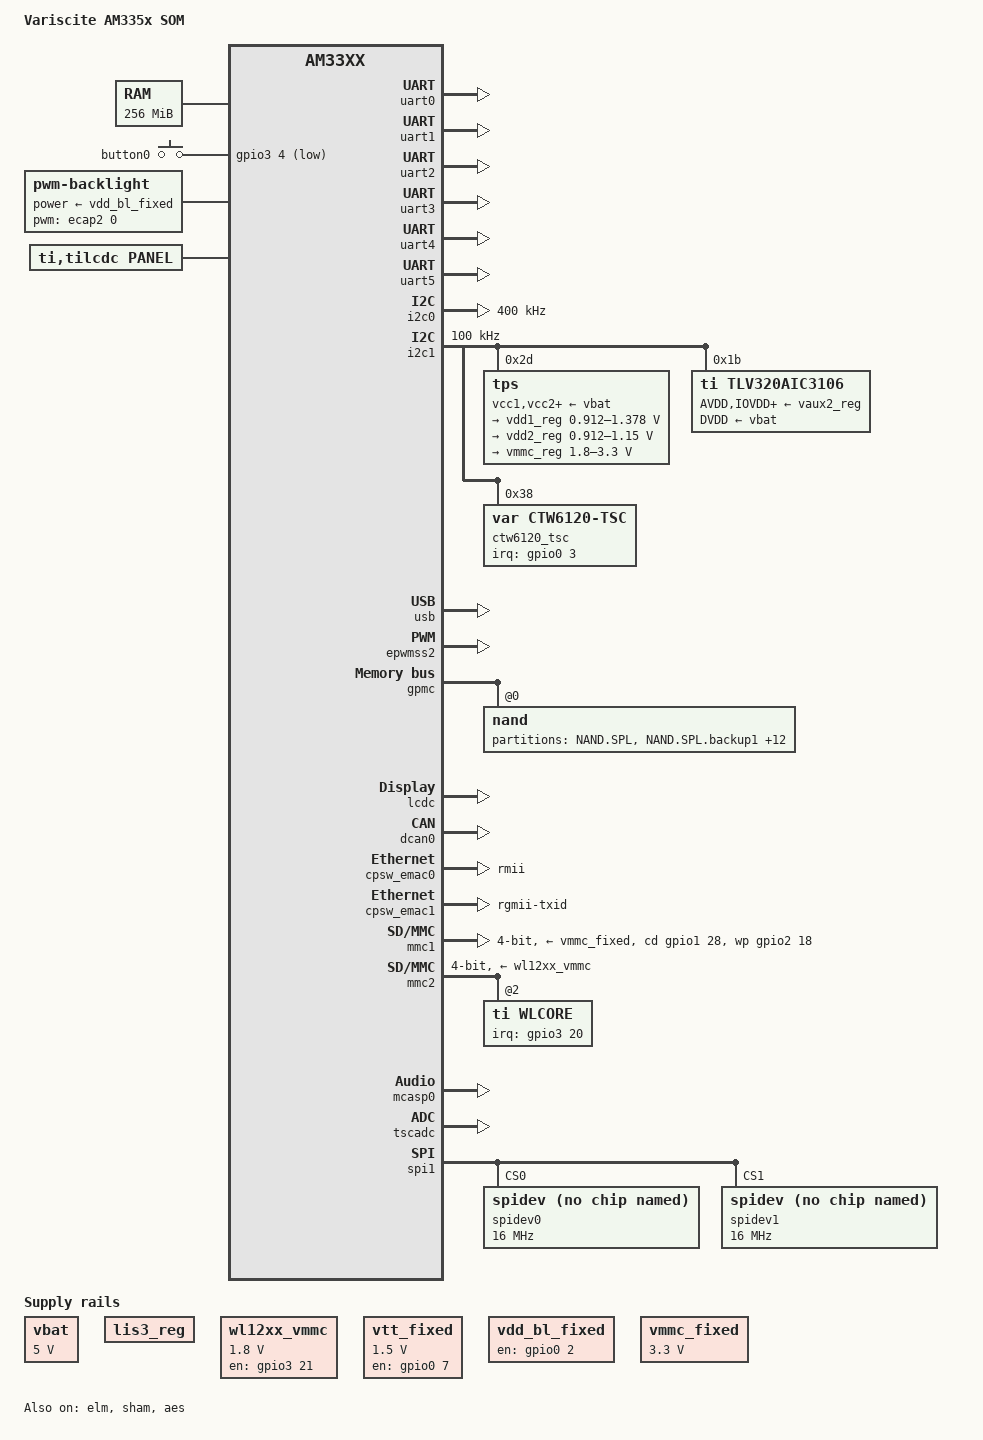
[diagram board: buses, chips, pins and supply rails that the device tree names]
/*
 * Copyright (C) 2014 Variscite LTD - http://www.variscite.com/
 *
 * This program is free software; you can redistribute it and/or modify
 * it under the terms of the GNU General Public License version 2 as
 * published by the Free Software Foundation.
 */
/dts-v1/;

#include "am33xx.dtsi"
#include <dt-bindings/pwm/pwm.h>
#include <dt-bindings/interrupt-controller/irq.h>

/ {
	model = "Variscite AM335x SOM";
	compatible = "ti,var-som-am33", "ti,am33xx";

	cpus {
		cpu@0 {
			cpu0-supply = <&vdd1_reg>;
		};
	};

	memory {
		device_type = "memory";
		reg = <0x80000000 0x10000000>; /* 256 MB */
	};

	vbat: fixedregulator@0 {
		compatible = "regulator-fixed";
		regulator-name = "vbat";
		regulator-min-microvolt = <5000000>;
		regulator-max-microvolt = <5000000>;
		regulator-boot-on;
	};

	lis3_reg: fixedregulator@1 {
		compatible = "regulator-fixed";
		regulator-name = "lis3_reg";
		regulator-boot-on;
	};

	wl12xx_vmmc: fixedregulator@2 {
		compatible = "regulator-fixed";
		regulator-name = "wlan-en-regulator";
		regulator-min-microvolt = <1800000>;
		regulator-max-microvolt = <1800000>;
		/* WLAN_EN GPIO for this board - Bank3, pin21 */
		gpio = <&gpio3 21 0>;

		/* WLAN card specific delay */
		startup-delay-us = <70000>;
		enable-active-high;
	};

	vtt_fixed: fixedregulator@3 {
		compatible = "regulator-fixed";
		regulator-name = "vtt";
		regulator-min-microvolt = <1500000>;
		regulator-max-microvolt = <1500000>;
		gpio = <&gpio0 7 GPIO_ACTIVE_HIGH>;
		regulator-always-on;
		regulator-boot-on;
		enable-active-high;
	};

	vdd_bl_fixed: fixedregulator@4 {	
		compatible = "regulator-fixed";
		regulator-name = "vdd_bl";
		//regulator-min-microvolt = <1500000>;
		//regulator-max-microvolt = <1500000>;
		gpio = <&gpio0 2 GPIO_ACTIVE_HIGH>;
		regulator-always-on;
		regulator-boot-on;
		enable-active-high;
	};

	vmmc_fixed: fixedregulator@5 {
		compatible = "regulator-fixed";
		regulator-name = "vmmc_fixed";
		regulator-min-microvolt = <3300000>;
		regulator-max-microvolt = <3300000>;
		regulator-always-on;
		regulator-boot-on;
	};


	gpio_buttons: gpio_keys@0 {
		compatible = "gpio-keys";
		#address-cells = <1>;
		#size-cells = <0>;

		switch@1 {
			label = "button0";
			linux,code = <0x100>;
			gpios = <&gpio3 4 GPIO_ACTIVE_LOW>;
			gpio-key,wakeup;
		};
	};

	backlight {
		compatible = "pwm-backlight";
		pwms = <&ecap2 0 50000 PWM_POLARITY_INVERTED>;
		brightness-levels = <0 58 61 66 75 90 125 170 255>;
		default-brightness-level = <8>;
		power-supply = <&vdd_bl_fixed>;		
	};

	sound {
		compatible = "ti,da830-evm-audio";
		ti,model = "AM335x-EVM";
		ti,audio-codec = <&tlv320aic3106>;
		ti,mcasp-controller = <&mcasp0>;
		ti,codec-clock-rate = <24000000>;
		ti,audio-routing =
			"Headphone Jack",       "HPLOUT",
			"Headphone Jack",       "HPROUT",
			"LINE1L",               "Line In",
			"LINE1R",               "Line In";
	};

	panel {
		compatible = "ti,tilcdc,panel";
		pinctrl-names = "default", "sleep";
		pinctrl-0 = <&lcd_pins_default>;
		pinctrl-1 = <&lcd_pins_sleep>;
		status = "okay";
		panel-info {
			ac-bias           = <255>;
			ac-bias-intrpt    = <0>;
			dma-burst-sz      = <16>;
			bpp               = <32>;
			fdd               = <0x80>;
			sync-edge         = <0>;
			sync-ctrl         = <1>;
			raster-order      = <0>;
			fifo-th           = <0>;
		};

		display-timings {
			800x480 {
				hactive = <800>;
				vactive = <480>;
				hback-porch     = <39>;
				hfront-porch    = <39>;
				hsync-len = <47>;
				vback-porch = <29>;
				vfront-porch = <13>;
				vsync-len = <2>;
				clock-frequency = <30000000>;
				hsync-active = <1>;
				vsync-active = <1>;
			};
		};
	};

	wlcore {
		compatible = "wlcore";
		gpio = <116>; /* Bank3, pin20 */
		pinctrl-names = "default";
	};

	kim {
		compatible = "kim";
		nshutdown_gpio = <105>; /* Bank3, pin21 */
		dev_name = "/dev/ttyO1";
		flow_cntrl = <1>;
		baud_rate = <3000000>;
	};

	btwilink {
		compatible = "btwilink";
	};
};

&am33xx_pinmux {
	pinctrl-names = "default";
	pinctrl-0 = <&clkout1_pin &gpio_keys_s0>;

	lcd_pins_default: lcd_pins_default {
		pinctrl-single,pins = <
#if 0
			0x20 (PIN_OUTPUT | MUX_MODE1)	/* gpmc_ad8.lcd_data23 */
			0x24 (PIN_OUTPUT | MUX_MODE1)	/* gpmc_ad9.lcd_data22 */
			0x28 (PIN_OUTPUT | MUX_MODE1)	/* gpmc_ad10.lcd_data21 */
			0x2c (PIN_OUTPUT | MUX_MODE1)	/* gpmc_ad11.lcd_data20 */
			0x30 (PIN_OUTPUT | MUX_MODE1)	/* gpmc_ad12.lcd_data19 */
			0x34 (PIN_OUTPUT | MUX_MODE1)	/* gpmc_ad13.lcd_data18 */
			0x38 (PIN_OUTPUT | MUX_MODE1)	/* gpmc_ad14.lcd_data17 */
			0x3c (PIN_OUTPUT | MUX_MODE1)	/* gpmc_ad15.lcd_data16 */
#endif
			0xa0 (PIN_OUTPUT | MUX_MODE0)	/* lcd_data0.lcd_data0 */
			0xa4 (PIN_OUTPUT | MUX_MODE0)	/* lcd_data1.lcd_data1 */
			0xa8 (PIN_OUTPUT | MUX_MODE0)	/* lcd_data2.lcd_data2 */
			0xac (PIN_OUTPUT | MUX_MODE0)	/* lcd_data3.lcd_data3 */
			0xb0 (PIN_OUTPUT | MUX_MODE0)	/* lcd_data4.lcd_data4 */
			0xb4 (PIN_OUTPUT | MUX_MODE0)	/* lcd_data5.lcd_data5 */
			0xb8 (PIN_OUTPUT | MUX_MODE0)	/* lcd_data6.lcd_data6 */
			0xbc (PIN_OUTPUT | MUX_MODE0)	/* lcd_data7.lcd_data7 */
			0xc0 (PIN_OUTPUT | MUX_MODE0)	/* lcd_data8.lcd_data8 */
			0xc4 (PIN_OUTPUT | MUX_MODE0)	/* lcd_data9.lcd_data9 */
			0xc8 (PIN_OUTPUT | MUX_MODE0)	/* lcd_data10.lcd_data10 */
			0xcc (PIN_OUTPUT | MUX_MODE0)	/* lcd_data11.lcd_data11 */
			0xd0 (PIN_OUTPUT | MUX_MODE0)	/* lcd_data12.lcd_data12 */
			0xd4 (PIN_OUTPUT | MUX_MODE0)	/* lcd_data13.lcd_data13 */
			0xd8 (PIN_OUTPUT | MUX_MODE0)	/* lcd_data14.lcd_data14 */
			0xdc (PIN_OUTPUT | MUX_MODE0)	/* lcd_data15.lcd_data15 */
			0xe0 (PIN_OUTPUT | MUX_MODE0)	/* lcd_vsync.lcd_vsync */
			0xe4 (PIN_OUTPUT | MUX_MODE0)	/* lcd_hsync.lcd_hsync */
			0xe8 (PIN_OUTPUT | MUX_MODE0)	/* lcd_pclk.lcd_pclk */
			0xec (PIN_OUTPUT | MUX_MODE0)	/* lcd_ac_bias_en.lcd_ac_bias_en */
		>;
	};

	lcd_pins_sleep: lcd_pins_sleep {
		pinctrl-single,pins = <
			0xa0 (PULL_DISABLE | MUX_MODE7)		/* lcd_data0.lcd_data0 */
			0xa4 (PULL_DISABLE | MUX_MODE7)		/* lcd_data1.lcd_data1 */
			0xa8 (PULL_DISABLE | MUX_MODE7)		/* lcd_data2.lcd_data2 */
			0xac (PULL_DISABLE | MUX_MODE7)		/* lcd_data3.lcd_data3 */
			0xb0 (PULL_DISABLE | MUX_MODE7)		/* lcd_data4.lcd_data4 */
			0xb4 (PULL_DISABLE | MUX_MODE7)		/* lcd_data5.lcd_data5 */
			0xb8 (PULL_DISABLE | MUX_MODE7)		/* lcd_data6.lcd_data6 */
			0xbc (PULL_DISABLE | MUX_MODE7)		/* lcd_data7.lcd_data7 */
			0xc0 (PULL_DISABLE | MUX_MODE7)		/* lcd_data8.lcd_data8 */
			0xc4 (PULL_DISABLE | MUX_MODE7)		/* lcd_data9.lcd_data9 */
			0xc8 (PULL_DISABLE | MUX_MODE7)		/* lcd_data10.lcd_data10 */
			0xcc (PULL_DISABLE | MUX_MODE7)		/* lcd_data11.lcd_data11 */
			0xd0 (PULL_DISABLE | MUX_MODE7)		/* lcd_data12.lcd_data12 */
			0xd4 (PULL_DISABLE | MUX_MODE7)		/* lcd_data13.lcd_data13 */
			0xd8 (PULL_DISABLE | MUX_MODE7)		/* lcd_data14.lcd_data14 */
			0xdc (PULL_DISABLE | MUX_MODE7)		/* lcd_data15.lcd_data15 */
			0xe0 (PIN_INPUT_PULLDOWN | MUX_MODE7)	/* lcd_vsync.lcd_vsync, OUTPUT | MODE0 */
			0xe4 (PIN_INPUT_PULLDOWN | MUX_MODE7)	/* lcd_hsync.lcd_hsync */
			0xe8 (PIN_INPUT_PULLDOWN | MUX_MODE7)	/* lcd_pclk.lcd_pclk */
			0xec (PIN_INPUT_PULLDOWN | MUX_MODE7)	/* lcd_ac_bias_en.lcd_ac_bias_en */
		>;
	};

	i2c0_pins: pinmux_i2c0_pins {
		pinctrl-single,pins = <
			0x188 (PIN_INPUT_PULLUP | MUX_MODE0)	/* i2c0_sda.i2c0_sda */
			0x18c (PIN_INPUT_PULLUP | MUX_MODE0)	/* i2c0_scl.i2c0_scl */
		>;
	};

	i2c1_pins: pinmux_i2c1_pins {
		pinctrl-single,pins = <
			0x158 (PIN_INPUT_PULLUP | MUX_MODE2)	/* spi0_d1.i2c1_sda */
			0x15c (PIN_INPUT_PULLUP | MUX_MODE2)	/* spi0_cs0.i2c1_scl */
		>;
	};

	uart0_pins: pinmux_uart0_pins {
		pinctrl-single,pins = <
			0x170 (PIN_INPUT_PULLUP | MUX_MODE0)	/* uart0_rxd.uart0_rxd */
			0x174 (PIN_OUTPUT_PULLDOWN | MUX_MODE0)		/* uart0_txd.uart0_txd */
		>;
	};

	uart1_pins_default: pinmux_uart1_pins_default {
		pinctrl-single,pins = <
			0x178 (PIN_INPUT | MUX_MODE0)			/* uart1_ctsn.uart1_ctsn */
			0x17C (PIN_OUTPUT_PULLDOWN | MUX_MODE0)	/* uart1_rtsn.uart1_rtsn */
			0x180 (PIN_INPUT_PULLUP | MUX_MODE0)	/* uart1_rxd.uart1_rxd */
			0x184 (PIN_OUTPUT | MUX_MODE0)			/* uart1_txd.uart1_txd */
		>;
	};

	uart1_pins_sleep: pinmux_uart1_pins_sleep {
		pinctrl-single,pins = <
			0x178 (PIN_INPUT_PULLDOWN | MUX_MODE7)
			0x17C (PIN_INPUT_PULLDOWN | MUX_MODE7)
			0x180 (PIN_INPUT_PULLDOWN | MUX_MODE7)
			0x184 (PIN_INPUT_PULLDOWN | MUX_MODE7)
		>;
	};

	clkout1_pin: pinmux_clkout1_pin {
		pinctrl-single,pins = <
			0x1b0 (PIN_OUTPUT_PULLDOWN | MUX_MODE3)	/* xdma_event_intr0.clkout1 */
		>;
	};

	nandflash_pins_default: pinmux_nandflash_pins_default {
		pinctrl-single,pins = <
			0x0 (PIN_INPUT_PULLUP | MUX_MODE0)	/* gpmc_ad0.gpmc_ad0 */
			0x4 (PIN_INPUT_PULLUP | MUX_MODE0)	/* gpmc_ad1.gpmc_ad1 */
			0x8 (PIN_INPUT_PULLUP | MUX_MODE0)	/* gpmc_ad2.gpmc_ad2 */
			0xc (PIN_INPUT_PULLUP | MUX_MODE0)	/* gpmc_ad3.gpmc_ad3 */
			0x10 (PIN_INPUT_PULLUP | MUX_MODE0)	/* gpmc_ad4.gpmc_ad4 */
			0x14 (PIN_INPUT_PULLUP | MUX_MODE0)	/* gpmc_ad5.gpmc_ad5 */
			0x18 (PIN_INPUT_PULLUP | MUX_MODE0)	/* gpmc_ad6.gpmc_ad6 */
			0x1c (PIN_INPUT_PULLUP | MUX_MODE0)	/* gpmc_ad7.gpmc_ad7 */
			0x70 (PIN_INPUT_PULLUP | MUX_MODE0)	/* gpmc_wait0.gpmc_wait0 */
			0x74 (PIN_INPUT_PULLUP | MUX_MODE7)	/* gpmc_wpn.gpio0_30 */
			0x7c (PIN_OUTPUT | MUX_MODE0)		/* gpmc_csn0.gpmc_csn0  */
			0x90 (PIN_OUTPUT | MUX_MODE0)		/* gpmc_advn_ale.gpmc_advn_ale */
			0x94 (PIN_OUTPUT | MUX_MODE0)		/* gpmc_oen_ren.gpmc_oen_ren */
			0x98 (PIN_OUTPUT | MUX_MODE0)		/* gpmc_wen.gpmc_wen */
			0x9c (PIN_OUTPUT | MUX_MODE0)		/* gpmc_ben0_cle.gpmc_ben0_cle */
		>;
	};

	nandflash_pins_sleep: pinmux_nandflash_pins_sleep {
		pinctrl-single,pins = <
			0x0 (PIN_INPUT_PULLDOWN | MUX_MODE7)
			0x4 (PIN_INPUT_PULLDOWN | MUX_MODE7)
			0x8 (PIN_INPUT_PULLDOWN | MUX_MODE7)
			0xc (PIN_INPUT_PULLDOWN | MUX_MODE7)
			0x10 (PIN_INPUT_PULLDOWN | MUX_MODE7)
			0x14 (PIN_INPUT_PULLDOWN | MUX_MODE7)
			0x18 (PIN_INPUT_PULLDOWN | MUX_MODE7)
			0x1c (PIN_INPUT_PULLDOWN | MUX_MODE7)
			0x70 (PIN_INPUT_PULLDOWN | MUX_MODE7)
			0x74 (PIN_INPUT_PULLDOWN | MUX_MODE7)
			0x7c (PIN_INPUT_PULLDOWN | MUX_MODE7)
			0x90 (PIN_INPUT_PULLDOWN | MUX_MODE7)
			0x94 (PIN_INPUT_PULLDOWN | MUX_MODE7)
			0x98 (PIN_INPUT_PULLDOWN | MUX_MODE7)
			0x9c (PIN_INPUT_PULLDOWN | MUX_MODE7)
		>;
	};

	ecap2_pins_default: backlight_pins {
		pinctrl-single,pins = <
			0x19c 0x4	/* mcasp0_ahclkr.ecap2_in_pwm2_out MODE4 */
		>;
	};

	ecap2_pins_sleep: ecap2_pins_sleep {
		pinctrl-single,pins = <
			0x19c (PIN_INPUT_PULLDOWN | MUX_MODE7)	/* mcasp0_ahclkr.ecap2_in_pwm2_out */
		>;
	};

	cpsw_default: cpsw_default {
		pinctrl-single,pins = <
			/* Slave 1 */
		0x10c (PIN_INPUT_PULLDOWN | MUX_MODE1)     /* mii1_crs.rmii1_crs_dv */
		0x110 (PIN_INPUT_PULLDOWN | MUX_MODE1)     /* mii1_rxerr.rmii1_rxerr */
		0x114 (PIN_OUTPUT | MUX_MODE1)             /* mii1_txen.rmii1_txen */
		0x124 (PIN_OUTPUT | MUX_MODE1)             /* mii1_txd1.rmii1_txd1 */
		0x128 (PIN_OUTPUT | MUX_MODE1)             /* mii1_txd0.rmii1_txd0 */
		0x13c (PIN_INPUT_PULLDOWN | MUX_MODE1)     /* mii1_rxd1.rmii1_rxd1 */
		0x140 (PIN_INPUT_PULLDOWN | MUX_MODE1)     /* mii1_rxd0.rmii1_rxd0 */
		0x144 (PIN_INPUT_PULLDOWN | MUX_MODE0)     /* rmii1_refclk.rmii1_refclk */
		0x138 (PIN_INPUT_PULLUP | MUX_MODE7)       /* mii1_rxd2.gpio2_19 */

		/* Slave 2 */
		0x40 (PIN_OUTPUT | MUX_MODE2)	           /* gpmc_a0.rgmii2_tctl */
		0x44 (PIN_INPUT_PULLDOWN | MUX_MODE2)	   /* gpmc_a1.rgmii2_rctl */
		0x48 (PIN_OUTPUT | MUX_MODE2)	           /* gpmc_a2.rgmii2_td3 */
		0x4c (PIN_OUTPUT | MUX_MODE2)              /* gpmc_a3.rgmii2_td2 */
		0x50 (PIN_OUTPUT | MUX_MODE2)              /* gpmc_a4.rgmii2_td1 */
		0x54 (PIN_OUTPUT | MUX_MODE2)              /* gpmc_a5.rgmii2_td0 */
		0x58 (PIN_OUTPUT | MUX_MODE2)              /* gpmc_a6.rgmii2_tclk */
		0x5c (PIN_INPUT_PULLDOWN | MUX_MODE2)      /* gpmc_a7.rgmii2_rclk */
		0x60 (PIN_INPUT_PULLDOWN | MUX_MODE2)      /* gpmc_a8.rgmii2_rd3 */
		0x64 (PIN_INPUT_PULLDOWN | MUX_MODE2)      /* gpmc_a9.rgmii2_rd2 */
		0x68 (PIN_INPUT_PULLDOWN | MUX_MODE2)      /* gpmc_a10.rgmii2_rd1 */
		0x6c (PIN_INPUT_PULLDOWN | MUX_MODE2)      /* gpmc_a11.rgmii2_rd0 */
		0x108 (PIN_INPUT_PULLDOWN | MUX_MODE1)     /* mii1_col.rmii2_refclk */
		0x130 (PIN_INPUT_PULLUP | MUX_MODE7)       /* mii1_rxclk.gpio3_10 */
		>;
	};

	cpsw_sleep: cpsw_sleep {
		pinctrl-single,pins = <
		/* Slave 1 reset value */
		0x10c (PIN_INPUT_PULLDOWN | MUX_MODE7)
		0x110 (PIN_INPUT_PULLDOWN | MUX_MODE7)
		0x114 (PIN_INPUT_PULLDOWN | MUX_MODE7)
		0x124 (PIN_INPUT_PULLDOWN | MUX_MODE7)
		0x128 (PIN_INPUT_PULLDOWN | MUX_MODE7)
		0x13c (PIN_INPUT_PULLDOWN | MUX_MODE7)
		0x140 (PIN_INPUT_PULLDOWN | MUX_MODE7)
		0x144 (PIN_INPUT_PULLDOWN | MUX_MODE7)
		0x138 (PIN_INPUT_PULLUP | MUX_MODE7)       /* mii1_rxd2.gpio2_19 */

		/* Slave 2 reset value */
		0x40 (PIN_INPUT_PULLDOWN | MUX_MODE7) 
		0x44 (PIN_INPUT_PULLDOWN | MUX_MODE7)
		0x48 (PIN_INPUT_PULLDOWN | MUX_MODE7)
		0x4c (PIN_INPUT_PULLDOWN | MUX_MODE7)
		0x50 (PIN_INPUT_PULLDOWN | MUX_MODE7)
		0x54 (PIN_INPUT_PULLDOWN | MUX_MODE7)
		0x58 (PIN_INPUT_PULLDOWN | MUX_MODE7)
		0x5c (PIN_INPUT_PULLDOWN | MUX_MODE7)
		0x60 (PIN_INPUT_PULLDOWN | MUX_MODE7)
		0x64 (PIN_INPUT_PULLDOWN | MUX_MODE7)
		0x68 (PIN_INPUT_PULLDOWN | MUX_MODE7)
		0x6c (PIN_INPUT_PULLDOWN | MUX_MODE7)
		>;
	};

	davinci_mdio_default: davinci_mdio_default {
		pinctrl-single,pins = <
			/* MDIO */
			0x148 (PIN_INPUT_PULLUP | SLEWCTRL_FAST | MUX_MODE0)	/* mdio_data.mdio_data */
			0x14c (PIN_OUTPUT_PULLUP | MUX_MODE0)			/* mdio_clk.mdio_clk */
		>;
	};

	davinci_mdio_sleep: davinci_mdio_sleep {
		pinctrl-single,pins = <
			/* MDIO reset value */
			0x148 (PIN_INPUT_PULLDOWN | MUX_MODE7)
			0x14c (PIN_INPUT_PULLDOWN | MUX_MODE7)
		>;
	};

	mmc1_pins_default: pinmux_mmc1_pins {
		pinctrl-single,pins = <
			0x0F0 (PIN_INPUT_PULLUP | MUX_MODE0)	/* mmc0_dat3.mmc0_dat3 */
			0x0F4 (PIN_INPUT_PULLUP | MUX_MODE0)	/* mmc0_dat2.mmc0_dat2 */
			0x0F8 (PIN_INPUT_PULLUP | MUX_MODE0)	/* mmc0_dat1.mmc0_dat1 */
			0x0FC (PIN_INPUT_PULLUP | MUX_MODE0)	/* mmc0_dat0.mmc0_dat0 */
			0x100 (PIN_INPUT_PULLUP | MUX_MODE0)	/* mmc0_clk.mmc0_clk */
			0x104 (PIN_INPUT_PULLUP | MUX_MODE0)	/* mmc0_cmd.mmc0_cmd */
			0x78  (PIN_INPUT_PULLUP | MUX_MODE7)	/* gpmc_ben1.gpio1_28 */
			0x134 (PIN_INPUT_PULLUP | MUX_MODE7)	/* mii1_rxd3.gpio2_18 */
		>;
	};

	mmc1_pins_sleep: pinmux_mmc1_pins_sleep {
		pinctrl-single,pins = <
			0x0F0 (PIN_INPUT_PULLDOWN | MUX_MODE7)
			0x0F4 (PIN_INPUT_PULLDOWN | MUX_MODE7)
			0x0F8 (PIN_INPUT_PULLDOWN | MUX_MODE7)
			0x0FC (PIN_INPUT_PULLDOWN | MUX_MODE7)
			0x100 (PIN_INPUT_PULLDOWN | MUX_MODE7)
			0x104 (PIN_INPUT_PULLDOWN | MUX_MODE7)
			0x78  (PIN_INPUT_PULLDOWN | MUX_MODE7)
			0x134 (PIN_INPUT_PULLDOWN | MUX_MODE7)
		>;
	};

	mcasp0_pins: mcasp0_pins {
		pinctrl-single,pins = <
			0x190 (PIN_INPUT_PULLDOWN | MUX_MODE0)  /* mcasp0_aclkx.mcasp0_aclkx */
			0x194 (PIN_INPUT_PULLDOWN | MUX_MODE0)  /* mcasp0_fsx.mcasp0_fsx */
			0x1A0 (PIN_INPUT_PULLDOWN | MUX_MODE2)  /* mcasp0_aclkr.mcasp0_axr2 */
			0x1A4 (PIN_INPUT_PULLDOWN | MUX_MODE2)  /* mcasp0_fsr.mcasp0_axr3 */
		>;
	};

	mcasp0_sleep_pins: mcasp0_sleep_pins {
		pinctrl-single,pins = <
			0x190 (PIN_INPUT_PULLDOWN | MUX_MODE7)
			0x194 (PIN_INPUT_PULLDOWN | MUX_MODE7)
			0x1A0 (PIN_INPUT_PULLDOWN | MUX_MODE7)
			0x1A4 (PIN_INPUT_PULLDOWN | MUX_MODE7)
		>;
	};
	/* wl12xx/wl18xx card on mmc1 */

	mmc2_pins_default: pinmux_mmc2_pins_default {
		pinctrl-single,pins = <
			0x20 (PIN_INPUT_PULLUP | MUX_MODE2)	/* gpmc_ad8.mmc1_dat0 */
			0x24 (PIN_INPUT_PULLUP | MUX_MODE2)	/* gpmc_ad9.mmc1_dat1 */
			0x28 (PIN_INPUT_PULLUP | MUX_MODE2)	/* gpmc_ad10.mmc1_dat2 */
			0x2c (PIN_INPUT_PULLUP | MUX_MODE2)	/* gpmc_ad11.mmc1_dat3 */
			0x84 (PIN_INPUT_PULLUP | MUX_MODE2)	/* gpmc_csn2.mmc1_cmd */
			0x80 (PIN_INPUT_PULLUP | MUX_MODE2)	/* gpmc_csn1.mmc1_clk */
		>;
	};
	
	mmc2_pins_sleep: pinmux_mmc2_pins_sleep {
		pinctrl-single,pins = <
			0x20 (PIN_INPUT_PULLUP | MUX_MODE7)	/* gpmc_ad8.mmc1_dat0 */
			0x24 (PIN_INPUT_PULLUP | MUX_MODE7)	/* gpmc_ad9.mmc1_dat1 */
			0x28 (PIN_INPUT_PULLUP | MUX_MODE7)	/* gpmc_ad10.mmc1_dat2 */
			0x2c (PIN_INPUT_PULLUP | MUX_MODE7)	/* gpmc_ad11.mmc1_dat3 */
			0x84 (PIN_INPUT_PULLUP | MUX_MODE7)	/* gpmc_csn2.mmc1_cmd */
			0x80 (PIN_INPUT_PULLUP | MUX_MODE7)	/* gpmc_csn1.mmc1_clk */
		>;
	};	

		/* wl12xx/wl18xx card enable/irq GPIOs. */
	wl12xx_gpio_default: pinmux_wl12xx_gpio_default {
		pinctrl-single,pins = <
			0x1AC 0x07	/* mcasp0_ahclkx.gpio3_21, OUTPUT | MODE7 */
			0x1A8 0x27	/* mcasp0_axr1.gpio3_20, INPUT | MODE7 */
			0x12C 0x17	/* mii1_txclk.gpio3_9, OUTPUT_PULLUP | MODE7 */
		>;
	};

	wl12xx_gpio_sleep: pinmux_wl12xx_gpio_sleep {
		pinctrl-single,pins = <
			0x1AC (PIN_INPUT_PULLDOWN | MUX_MODE7)	/* mcasp0_ahclkx.gpio3_21, OUTPUT | MODE7 */
			0x1A8 (PIN_INPUT_PULLDOWN | MUX_MODE7)	/* mcasp0_axr1.gpio3_20, INPUT | MODE7 */
			0x12C (PIN_INPUT_PULLDOWN | MUX_MODE7)	/* mii1_txclk.gpio3_9, OUTPUT_PULLUP | MODE7 */
		>;
	};
	
	/* ctw6120 irq GPIO. */
	ctw6120_pins: pinmux_ctw6120_pins {
		pinctrl-single,pins = <
			0x154 0x27	/* spi0_d0.gpio0_3, INPUT | MODE7 */
		>;
	};
	dcan0_default: dcan0_default_pins {
		pinctrl-single,pins = <
			0x11c (PIN_OUTPUT_PULLDOWN | MUX_MODE1)	 /* AM33XX_CONTROL_PADCONF_MII1_TXD3_OFFSET			0x091C */
			0x120 (PIN_INPUT_PULLUP | MUX_MODE1)      /* AM33XX_CONTROL_PADCONF_MII1_TXD2_OFFSET			0x0920 */
		>;
	};

	spi1_pins_default: pinmux_spi1_pins_default {
		pinctrl-single,pins = <
			0x164 (PIN_INPUT | MUX_MODE4)	/* ECAP0_IN_PWM0_OUT: SPI CLK */
			0x168 (PIN_INPUT | MUX_MODE4)	/* UART0_CTSN: SPI1_D0 - We set to SPI1_RX*/
			0x16C (PIN_OUTPUT | MUX_MODE4)	/* UART0_RTSN: SPI1_D1 - We set to SPI1_TX*/
			0x19C (PIN_OUTPUT | MUX_MODE3)	/* MCASP0_AHCLKR: SPI1_CS */
		>;
	};

	spi1_pins_sleep: pinmux_spi1_pins_sleep {
		pinctrl-single,pins = <
			0x164 (PIN_INPUT_PULLDOWN | MUX_MODE7)	/* ECAP0_IN_PWM0_OUT: SPI CLK */
			0x168 (PIN_INPUT_PULLDOWN | MUX_MODE7)	/* UART0_CTSN: SPI1_D0 - We set to SPI1_TX*/
			0x16C (PIN_INPUT_PULLDOWN | MUX_MODE7)	/* UART0_RTSN: SPI1_D1 - We set to SPI1_RX*/
			0x19C (PIN_INPUT_PULLDOWN | MUX_MODE7)	/* MCASP0_AHCLKR: SPI1_CS */
		>;
	};

       gpio_keys_s0: gpio_keys_s0 {
               pinctrl-single,pins = <
                       0x118 (PIN_INPUT_PULLUP | MUX_MODE7)    /* GPIO3_4 */
               >;
       };
};

&uart0 {
	pinctrl-names = "default";
	pinctrl-0 = <&uart0_pins>;

	status = "okay";
};

&uart1 {
	pinctrl-names = "default", "sleep";
	pinctrl-0 = <&uart1_pins_default>;
	pinctrl-1 = <&uart1_pins_sleep>;

	status = "okay";
};

&uart2 {
	/*
	pinctrl-names = "default", "sleep";
	pinctrl-0 = <&uart2_pins_default>;
	pinctrl-1 = <&uart2_pins_sleep>;
	*/
	status = "okay";
};

&uart3 {
	/*
	pinctrl-names = "default", "sleep";
	pinctrl-0 = <&uart3_pins_default>;
	pinctrl-1 = <&uart3_pins_sleep>;
	*/
	status = "okay";
};

&uart4 {
	/*
	pinctrl-names = "default", "sleep";
	pinctrl-0 = <&uart4_pins_default>;
	pinctrl-1 = <&uart4_pins_sleep>;
	*/
	status = "okay";
};

&uart5 {
	/*
	pinctrl-names = "default", "sleep";
	pinctrl-0 = <&uart5_pins_default>;
	pinctrl-1 = <&uart5_pins_sleep>;
	*/
	status = "okay";
};

&i2c0 {
	pinctrl-names = "default";
	pinctrl-0 = <&i2c0_pins>;

	status = "okay";
	clock-frequency = <400000>;

};


&i2c1 {
	pinctrl-names = "default";
	pinctrl-0 = <&i2c1_pins>;

	status = "okay";
	clock-frequency = <100000>;

	tps: tps@2d {
		status = "okay";
		reg = <0x2d>;
	};

#if 0 
	lis331dlh: lis331dlh@18 {
		compatible = "st,lis331dlh", "st,lis3lv02d";
		reg = <0x18>;
		Vdd-supply = <&lis3_reg>;
		Vdd_IO-supply = <&lis3_reg>;

		st,click-single-x;
		st,click-single-y;
		st,click-single-z;
		st,click-thresh-x = <10>;
		st,click-thresh-y = <10>;
		st,click-thresh-z = <10>;
		st,irq1-click;
		st,irq2-click;
		st,wakeup-x-lo;
		st,wakeup-x-hi;
		st,wakeup-y-lo;
		st,wakeup-y-hi;
		st,wakeup-z-lo;
		st,wakeup-z-hi;
		st,min-limit-x = <120>;
		st,min-limit-y = <120>;
		st,min-limit-z = <140>;
		st,max-limit-x = <550>;
		st,max-limit-y = <550>;
		st,max-limit-z = <750>;
	};
#endif//0

	tlv320aic3106: tlv320aic3106@1b {
		compatible = "ti,tlv320aic3106";
		reg = <0x1b>;
		status = "okay";

		/* Regulators */
		AVDD-supply = <&vaux2_reg>;
		IOVDD-supply = <&vaux2_reg>;
		DRVDD-supply = <&vaux2_reg>;
		DVDD-supply = <&vbat>;
	};

	ctw6120_tsc@38 {
		compatible = "var,ctw6120-tsc";
		pinctrl-names = "default";
		pinctrl-0 = <&ctw6120_pins>;
		reg = <0x38>;
		interrupt-parent = <&gpio0>;
		interrupts = <3 IRQ_TYPE_NONE>;
		

		x-size = <800>;
		y-size = <480>;
	};
};

&usb {
	status = "okay";

	control@44e10620 {
		status = "okay";
	};

	usb-phy@47401300 {
		status = "okay";
	};

	usb@47401000 {
		status = "okay";
		dr_mode = "host";
	};

	dma-controller@47402000  {
		status = "okay";
	};

	usb-phy@47401b00 {
		status = "okay";
	};

	usb@47401800 {
		status = "okay";
                //dr_mode = "otg";
                dr_mode = "peripheral";
	};
};

&epwmss2 {
	status = "okay";

	ecap2: ecap@48304100 {
		status = "okay";
#if 0
		pinctrl-names = "default", "sleep";
		pinctrl-0 = <&ecap2_pins_default>;
		pinctrl-1 = <&ecap2_pins_sleep>;
#endif
	};
};

&wkup_m3 {
	ti,needs-vtt-toggle;
	ti,vtt-gpio-pin = <7>;
	ti,scale-data-fw = "am335x-evm-scale-data.bin";
};

&elm {
	status = "okay";
};

&gpmc {
	status = "okay";
	pinctrl-names = "default", "sleep";
	pinctrl-0 = <&nandflash_pins_default>;
	pinctrl-1 = <&nandflash_pins_sleep>;
	ranges = <0 0 0x08000000 0x10000000>;	/* CS0: NAND */
	nand@0,0 {
		reg = <0 0 0>; /* CS0, offset 0 */
		nand-bus-width = <8>;
		gpmc,device-width = <1>;
		gpmc,sync-clk-ps = <0>;
		gpmc,cs-on-ns = <0>;
		gpmc,cs-rd-off-ns = <44>;
		gpmc,cs-wr-off-ns = <44>;
		gpmc,adv-on-ns = <6>;
		gpmc,adv-rd-off-ns = <34>;
		gpmc,adv-wr-off-ns = <44>;
		gpmc,we-on-ns = <0>;
		gpmc,we-off-ns = <40>;
		gpmc,oe-on-ns = <0>;
		gpmc,oe-off-ns = <54>;
		gpmc,access-ns = <64>;
		gpmc,rd-cycle-ns = <82>;
		gpmc,wr-cycle-ns = <82>;
		gpmc,wait-on-read = "true";
		gpmc,wait-on-write = "true";
		gpmc,bus-turnaround-ns = <0>;
		gpmc,cycle2cycle-delay-ns = <0>;
		gpmc,clk-activation-ns = <0>;
		gpmc,wait-monitoring-ns = <0>;
		gpmc,wr-access-ns = <40>;
		gpmc,wr-data-mux-bus-ns = <0>;
		ti,nand-ecc-opt= "bch8";
		ti,elm-id = <&elm>;
		/* MTD partition table */
                /* All SPL-* partitions are sized to minimal length
		 * which can be independently programmable. For
		 * NAND flash this is equal to size of erase-block */
		#address-cells = <1>;
		#size-cells = <1>;
		partition@0 {
			label = "NAND.SPL";
			reg = <0x00000000 0x000020000>;
		};
		partition@1 {
			label = "NAND.SPL.backup1";
			reg = <0x00020000 0x00020000>;
		};
		partition@2 {
			label = "NAND.SPL.backup2";
			reg = <0x00040000 0x00020000>;
		};
		partition@3 {
			label = "NAND.SPL.backup3";
			reg = <0x00060000 0x00020000>;
		};
		partition@4 {
			label = "NAND.u-boot-spl-os";
			reg = <0x00080000 0x00040000>;
		};
		partition@5 {
			label = "NAND.u-boot";
			reg = <0x000C0000 0x00100000>;
		};
		partition@6 {
			label = "NAND.u-boot-env";
			reg = <0x001C0000 0x00020000>;
		};
		partition@7 {
			label = "NAND.u-boot-env.backup1";
			reg = <0x001E0000 0x00020000>;
		};
		partition@8 {
			label = "NAND.kernel";
			reg = <0x00200000 0x00800000>;
		};
		partition@9 {
			label = "NAND.file-system";
			reg = <0x00A00000 0x3F600000>;
		};
		partition@10 {
			label = "Android NAND.u-boot";
			reg = <0x00080000 0x00260000>;
		};
		partition@11 {
			label = "Android NAND.u-boot-env";
			reg = <0x000000260000 0x000000280000>;
		};
		partition@12 {
			label = "Android Kernel";
			reg = <0x000000280000 0x000000780000>;
		};
		partition@13 {
			label = "Android File System";
			reg = <0x000000780000 0x000010000000>;
		};
	};
};

&lcdc {
	status = "okay";
};

#include "tps65910.dtsi"

&dcan0 {
	pinctrl-names = "default";
	pinctrl-0 = <&dcan0_default>;
	status = "okay";
};


&tps {
	vcc1-supply = <&vbat>;
	vcc2-supply = <&vbat>;
	vcc3-supply = <&vbat>;
	vcc4-supply = <&vbat>;
	vcc5-supply = <&vbat>;
	vcc6-supply = <&vbat>;
	vcc7-supply = <&vbat>;
	vccio-supply = <&vbat>;

	rtc:0 {
		compatible = "ti,tps65910-rtc";
		interrupts = <0>;
	};

	regulators {
		vrtc_reg: regulator@0 {
			regulator-always-on;
		};

		vio_reg: regulator@1 {
			regulator-always-on;
		};

		vdd1_reg: regulator@2 {
			/* VDD_MPU voltage limits 0.95V - 1.325V with +/-4% tolerance */
			regulator-name = "vdd_mpu";
			regulator-min-microvolt = <912500>;
			regulator-max-microvolt = <1378000>;
			regulator-boot-on;
			regulator-always-on;
		};

		vdd2_reg: regulator@3 {
			/* VDD_CORE voltage limits 0.95V - 1.1V with +/-4% tolerance */
			regulator-name = "vdd_core";
			regulator-min-microvolt = <912500>;
			regulator-max-microvolt = <1150000>;
			regulator-boot-on;
			regulator-always-on;
		};

		vdd3_reg: regulator@4 {
			regulator-always-on;
		};

		vdig1_reg: regulator@5 {
			regulator-always-on;
		};

		vdig2_reg: regulator@6 {
			regulator-always-on;
		};

		vpll_reg: regulator@7 {
			regulator-always-on;
		};

		vdac_reg: regulator@8 {
			regulator-always-on;
		};

		vaux1_reg: regulator@9 {
			regulator-always-on;
		};

		vaux2_reg: regulator@10 {
			regulator-always-on;
		};

		vaux33_reg: regulator@11 {
			regulator-always-on;
		};

		vmmc_reg: regulator@12 {
			regulator-min-microvolt = <1800000>;
			regulator-max-microvolt = <3300000>;
			regulator-always-on;
		};
	};
};

&mac {
	pinctrl-names = "default", "sleep";
	pinctrl-0 = <&cpsw_default>;
	pinctrl-1 = <&cpsw_sleep>;
	dual_emac = <1>;
};

&davinci_mdio {
	pinctrl-names = "default", "sleep";
	pinctrl-0 = <&davinci_mdio_default>;
	pinctrl-1 = <&davinci_mdio_sleep>;
};

&cpsw_emac0 {
	phy_id = <&davinci_mdio>, <0>;
	phy-mode = "rmii";
	dual_emac_res_vlan = <1>;
};

&cpsw_emac1 {
	phy_id = <&davinci_mdio>, <7>;
	phy-mode = "rgmii-txid";
	dual_emac_res_vlan = <2>;
};


&phy_sel {
	rmii-clock-ext;
};

&mmc1 {
	status = "okay";
	vmmc-supply = <&vmmc_fixed>;
	bus-width = <4>;
	pinctrl-names = "default", "sleep";
	pinctrl-0 = <&mmc1_pins_default>;
	pinctrl-1 = <&mmc1_pins_sleep>;
	cd-gpios = <&gpio1 28 GPIO_ACTIVE_HIGH>;
	wp-gpios = <&gpio2 18 GPIO_ACTIVE_HIGH>;
};

&sham {
	status = "okay";
};

&aes {
	status = "okay";
};

&gpio0 {
	ti,no-reset-on-init;
};

&mmc2 {
	status = "okay";
	vmmc-supply = <&wl12xx_vmmc>;
	bus-width = <4>;
	pinctrl-names = "default", "sleep";
	pinctrl-0 = <&mmc2_pins_default &wl12xx_gpio_default>;
	pinctrl-1 = <&mmc2_pins_sleep &wl12xx_gpio_sleep>;
	ti,non-removable;
	ti,needs-special-hs-handling;
	cap-power-off-card;
	keep-power-in-suspend;

	#address-cells = <1>;
	#size-cells = <0>;
	wlcore: wlcore@0 {
		compatible = "ti,wlcore";
		reg = <2>;
		interrupt-parent = <&gpio3>;
		interrupts = <20 IRQ_TYPE_NONE>;

		/* if a 12xx card is there, configure the clock to
		   WL12XX_REFCLOCK_38_XTAL */
		board-ref-clock = <4>;
		status = "okay";
	};

};

&edma {
	ti,edma-xbar-event-map = /bits/ 16 <1 12
					    2 13>;
};

&mcasp0 {
	pinctrl-names = "default", "sleep";
	pinctrl-0 = <&mcasp0_pins>;
	pinctrl-1 = <&mcasp0_sleep_pins>;

	status = "okay";

	op-mode = <0>;          /* MCASP_IIS_MODE */
	tdm-slots = <2>;
	/* 16 serializer */
	serial-dir = <  /* 0: INACTIVE, 1: TX, 2: RX */
		0 0 2 1
	>;
	tx-num-evt = <32>;
	rx-num-evt = <32>;
};


&tscadc {
	status = "okay";
	tsc {
		ti,wires = <4>;
		ti,x-plate-resistance = <180>;
		ti,coordinate-readouts = <5>;
		ti,wire-config = <0x00 0x21 0x12 0x33>;
		ti,charge-delay = <0x700>;
	};

	adc {
		ti,adc-channels = <4 5 6 7>;
	};
};

&spi1 {
	status = "okay";

#if 0	/* NOTE: In order to use SPI on VAR-SOM-AM33 CustomBoard -
	1) Need to remove R9 and R10 resistors from the CustomBoard.
	2) Need to also remove U21 from the CustomBoard. */

	pinctrl-names = "default", "sleep";
	pinctrl-0 = <&spi1_pins_default>;
	pinctrl-1 = <&spi1_pins_sleep>;
#endif
	spidev0: spi@0 {
		compatible = "spidev";
		reg = <0>;
		spi-max-frequency = <16000000>;
		spi-cpha;
	};

	spidev1: spi@1 {
		compatible = "spidev";
		reg = <1>;
		spi-max-frequency = <16000000>;
	};
};
